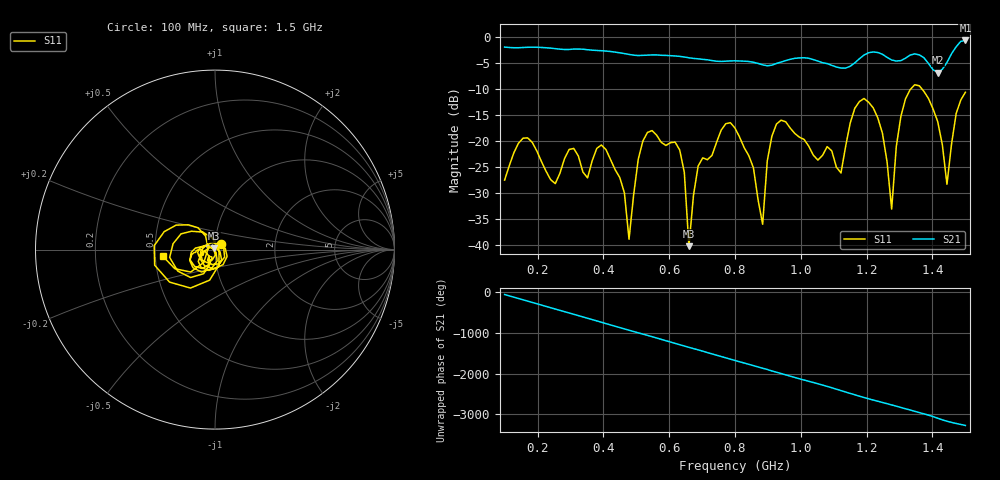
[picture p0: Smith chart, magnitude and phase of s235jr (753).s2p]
! NanoVNA-App
! Date: 2025-09-25 15:10:02
! Start: 100MHz Stop: 1,5GHz Points: 101
! S-Parameter data: F S11 S21 S12 S22
# Hz S RI R 50
!  Frequency  S11_Real  S11_Imag  S21_Real  S21_Imag  S12_Real  S12_Imag  S22_Real  S22_Imag
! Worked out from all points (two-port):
!   101 points, 100 MHz to 1.5 GHz, reference 50 ohm
!   highest |S21| = -0.69 dB at 1.5 GHz (marker M1); lowest = -6.8 dB at 1.416 GHz (marker M2)
!   |S21| within 3 dB of the highest: start of sweep to 622.8 MHz; 1.188 GHz to 1.256 GHz (68.3 MHz wide, 5.59 % of centre) (the widest 2 of 4)
!   lowest |S11| = -40.1 dB at 660 MHz (marker M3), VSWR 1.02, Z = 49.3 + j0.629 ohm
!   |S11| at or under -10 dB: start of sweep to 1.334 GHz; 1.368 GHz to end of sweep
!   S12 and S22 are empty: the file has one direction only
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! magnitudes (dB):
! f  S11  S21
! 100 MHz  -27.5  -2.0
! 156 MHz  -19.4  -2.0
! 338 MHz  -25.9  -2.4
! 408 MHz  -21.6  -2.7
! 478 MHz  -38.8  -3.4
! 520 MHz  -20.0  -3.5
! 576 MHz  -20.2  -3.5
! 632 MHz  -21.7  -3.7
! 660 MHz  -40.1  -4.0
! 688 MHz  -24.8  -4.2
! 800 MHz  -17.5  -4.6
! 884 MHz  -35.9  -5.4
! 926 MHz  -16.7  -5.1
! 1.038 GHz  -22.7  -4.4
! 1.122 GHz  -26.1  -6.0
! 1.192 GHz  -11.8  -3.5
! 1.248 GHz  -18.5  -3.3
! 1.276 GHz  -33.0  -4.4
! 1.332 GHz  -10.1  -3.5
! 1.416 GHz  -16.3  -6.8
! 1.444 GHz  -28.3  -4.9
! 1.5 GHz  -10.6  -0.7
